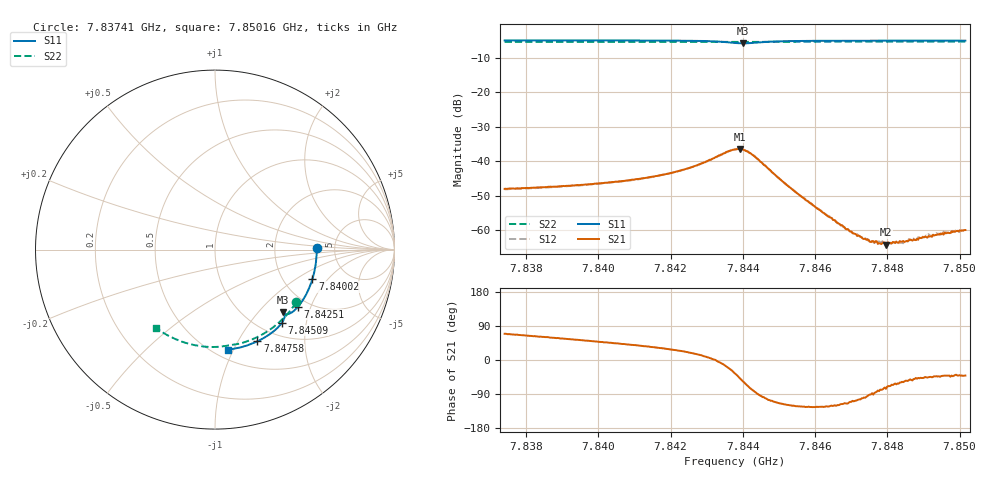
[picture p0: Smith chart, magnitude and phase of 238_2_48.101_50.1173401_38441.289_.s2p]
#  HZ  S  RI  R  50.00
! Rohde & Schwarz Vector Network Analyzer
! Rohde-Schwarz,ZNB20-2Port,1311601062101988,3.16
! Created: UTC 12/23/2023, 3:58:28 AM
! freq[Hz]  re:S11  im:S11  re:S21  im:S21  re:S12  im:S12  re:S22  im:S22
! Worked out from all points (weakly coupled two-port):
!   401 points, 7.83741 GHz to 7.85016 GHz, reference 50 ohm
!   highest |S21| = -36.39 dB at 7.84391 GHz (marker M1); lowest = -64.2 dB at 7.84796 GHz (marker M2)
!   lowest |S11| = -5.8 dB at 7.84401 GHz (marker M3), VSWR 3.12, Z = 72.2 - j68.7 ohm
!   |S11| at or under -10 dB: nowhere
!   |S22| runs from -5.4 to -5.3 dB; largest |S21 - S12| = 0.0003
!   S11 on the Smith chart (normalised r, x): 7.83741 GHz: 3.61, +0.10; 7.84002 GHz: 2.88, -1.39; 7.84251 GHz: 1.76, -1.63; 7.84509 GHz: 1.25, -1.46; 7.84758 GHz: 0.81, -1.21; 7.85016 GHz: 0.58, -0.95
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7.837408e9  0.5664 0.00901  0.00142 0.00374  0.00144 0.00366  0.4524 -0.2943
7.839544e9  0.5513 -0.1325  0.0028 0.00362  0.00277 0.00356  0.3552 -0.4074
7.840023e9  0.5429 -0.1636  0.00322 0.00356  0.00315 0.00352  0.3293 -0.4288
7.841681e9  0.498 -0.2678  0.0053 0.00332  0.00523 0.00334  0.2302 -0.4898
7.84251e9  0.4637 -0.3174  0.00756 0.00271  0.00751 0.00273  0.1763 -0.5118
7.843307e9  0.415 -0.3566  0.0119 -0.000793  0.0118 -0.000743  0.1221 -0.5265
7.843785e9  0.3811 -0.3566  0.0121 -0.00862  0.0122 -0.00867  0.0902 -0.5314
7.843913e9  0.3779 -0.352  0.0102 -0.0112  0.0104 -0.0112  0.0821 -0.5326
7.844008e9  0.3782 -0.3494  0.00822 -0.0124  0.00827 -0.0124  0.0761 -0.5335
7.844168e9  0.3821 -0.3492  0.00436 -0.0128  0.00437 -0.0127  0.0662 -0.5354
7.844327e9  0.387 -0.3552  0.00132 -0.0117  0.00133 -0.0119  0.0556 -0.5373
7.845092e9  0.3736 -0.4063  -0.00223 -0.00468  -0.00228 -0.00467  0.00233 -0.5426
7.845921e9  0.3327 -0.4501  -0.00134 -0.00197  -0.00131 -0.00196  -0.0563 -0.5406
7.847005e9  0.271 -0.4927  -0.00034 -0.000901  -0.000331 -0.000905  -0.1315 -0.5283
7.847292e9  0.2539 -0.5021  -0.000153 -0.000775  -0.000165 -0.000777  -0.151 -0.5231
7.847579e9  0.2364 -0.5109  2.94e-05 -0.000699  1.31e-05 -0.000674  -0.1704 -0.5173
7.847803e9  0.2228 -0.5169  0.000131 -0.000631  0.00013 -0.000662  -0.1851 -0.5123
7.847962e9  0.2128 -0.5211  0.000149 -0.000599  0.000165 -0.000645  -0.1957 -0.5086
7.848058e9  0.2069 -0.5236  0.000234 -0.000607  0.000215 -0.00064  -0.2019 -0.5063
7.848376e9  0.1868 -0.5311  0.000351 -0.00059  0.000352 -0.000558  -0.2226 -0.4977
7.849142e9  0.1378 -0.5457  0.000578 -0.000586  0.000593 -0.000651  -0.2705 -0.4738
7.850162e9  0.0711 -0.5579  0.000763 -0.000663  0.000772 -0.000685  -0.3304 -0.4348
